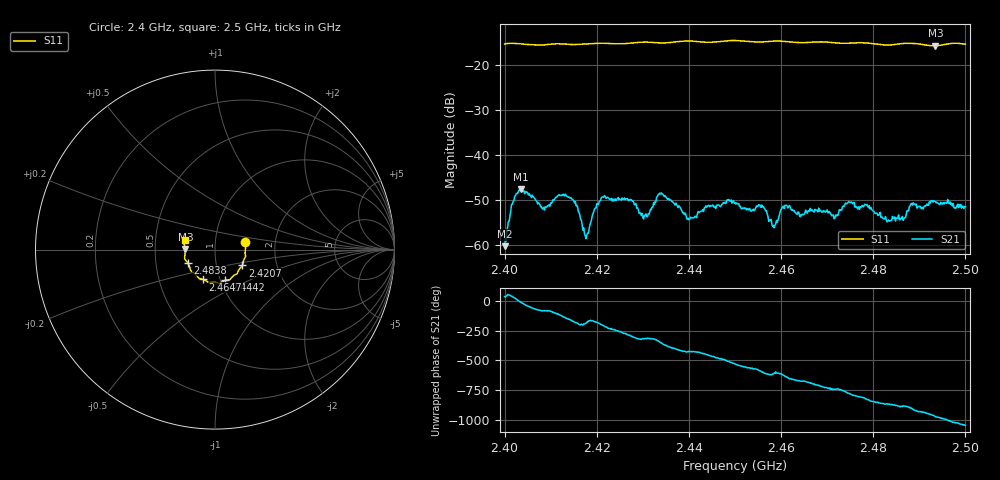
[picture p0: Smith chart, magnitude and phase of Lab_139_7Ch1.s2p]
# Hz S RI R 50
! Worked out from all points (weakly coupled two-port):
!   601 points, 2.4 GHz to 2.5 GHz, reference 50 ohm
!   highest |S21| = -47.67 dB at 2.4035 GHz (marker M1); lowest = -60.3 dB at 2.4 GHz (marker M2)
!   lowest |S11| = -15.6 dB at 2.4935 GHz (marker M3), VSWR 1.40, Z = 35.8 + j0.163 ohm
!   |S11| at or under -10 dB: start of sweep to end of sweep
!   S12 and S22 are empty: the file has one direction only
!   S11 on the Smith chart (normalised r, x): 2.4 GHz: 1.40, +0.12; 2.4207 GHz: 1.33, -0.24; 2.4442 GHz: 1.05, -0.37; 2.4647 GHz: 0.83, -0.29; 2.4838 GHz: 0.73, -0.11; 2.5 GHz: 0.71, +0.07
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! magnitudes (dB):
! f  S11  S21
! 2.4 GHz  -15.2  -60.3
! 2.4018 GHz  -15.1  -50.4
! 2.4035 GHz  -15.2  -47.7
! 2.4083 GHz  -15.4  -52.0
! 2.4137 GHz  -15.3  -49.3
! 2.4167 GHz  -15.3  -54.5
! 2.4178 GHz  -15.2  -57.9
! 2.4207 GHz  -15.1  -50.3
! 2.4305 GHz  -14.8  -53.5
! 2.4333 GHz  -15.0  -48.8
! 2.44 GHz  -14.6  -54.5
! 2.4442 GHz  -14.9  -51.2
! 2.45 GHz  -14.5  -50.6
! 2.4585 GHz  -14.6  -56.2
! 2.4607 GHz  -14.6  -51.9
! 2.4647 GHz  -14.9  -53.2
! 2.4667 GHz  -14.8  -52.2
! 2.475 GHz  -15.1  -50.6
! 2.4833 GHz  -15.5  -54.5
! 2.4838 GHz  -15.4  -54.6
! 2.4935 GHz  -15.6  -50.4
! 2.5 GHz  -15.3  -51.5
